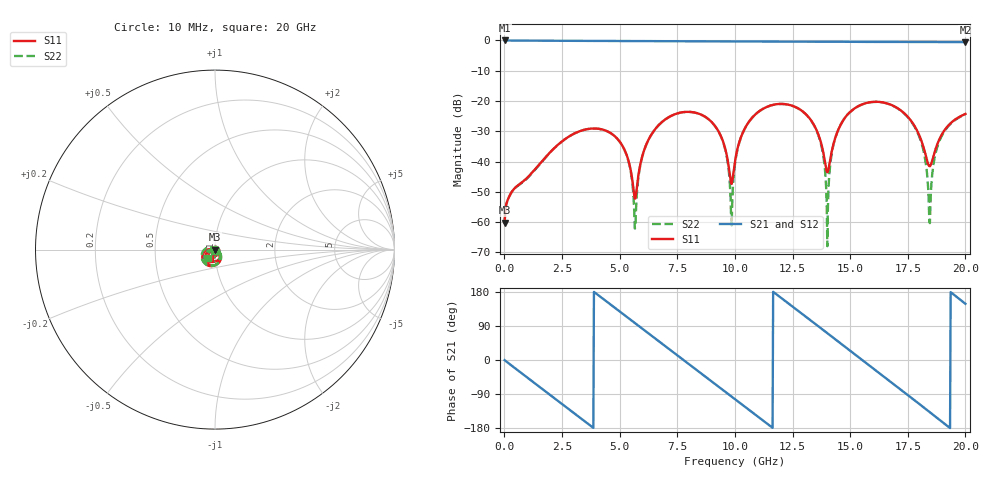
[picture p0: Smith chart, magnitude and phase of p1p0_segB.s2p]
! Stitch-density study - 40 x 12 mm symmetric stripline, cut at x=20 mm
! Case: p1p0_segB
! Sweep: 10 MHz - 20 GHz, 25 MHz step, 4 cores
# GHz S MA R 50.000000
! Terminal data exported
! Port[1] = U1.PAD1.SIG
! Port[2] = U2.PAD1.SIG
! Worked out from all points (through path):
!   801 points, 10 MHz to 20 GHz, reference 50 ohm
!   highest |S21| = -0.01 dB at 10 MHz (marker M1); lowest = -0.6 dB at 20 GHz (marker M2)
!   group delay of S21, straight-line fit = 129 ps
!   lowest |S11| = -60.2 dB at 10 MHz (marker M3), VSWR 1.00, Z = 50.1 + j0.0432 ohm
!   |S11| at or under -10 dB: start of sweep to end of sweep
!   |S22| runs from -68.0 to -20.3 dB; largest |S21 - S12| = 0
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0.01  0.0009811 26.1  0.9991 -0.5  0.9991 -0.5  0.000981 26.1
1.76  0.01152 -7.7  0.9891 -81.9  0.9891 -81.9  0.01139 -5.3
3.36  0.03257 -67.5  0.983 -155.9  0.983 -155.9  0.03254 -66.9
5.01  0.02115 -137.3  0.978 127.8  0.978 127.8  0.02105 -140.7
5.66  0.002435 -92.2  0.9763 97.7  0.9763 97.7  0.0007802 -113.9
6.035  0.01431 -19.7  0.9751 80.3  0.9751 80.3  0.01411 -12.4
6.685  0.0396 -42.9  0.9726 50.3  0.9726 50.3  0.03951 -40.6
8.185  0.06519 -108.2  0.967 -19.0  0.967 -19.0  0.06509 -109.1
9.36  0.02799 -155.8  0.9656 -73.4  0.9656 -73.4  0.02771 -162.3
9.835  0.004357 -109.2  0.9648 -95.4  0.9648 -95.4  0.001283 -149.9
10.01  0.01046 -37.8  0.9642 -103.6  0.9642 -103.6  0.00955 -18.5
10.56  0.04268 -44.3  0.9619 -129.1  0.9619 -129.1  0.04243 -40.5
11.685  0.08686 -91.5  0.9563 178.8  0.9563 178.8  0.08667 -91.8
13.36  0.04455 -161.0  0.9548 101.2  0.9548 101.2  0.04406 -168.6
14.01  0.006618 -110.1  0.954 70.8  0.954 70.8  0.0004001 -123.0
14.285  0.02005 -48.4  0.9527 58.0  0.9527 58.0  0.01944 -31.2
14.76  0.05182 -57.7  0.9494 35.8  0.9494 35.8  0.05222 -53.1
16.685  0.08906 -140.4  0.9437 -54.0  0.9437 -54.0  0.08857 -145.9
17.935  0.03069 175.0  0.9439 -112.9  0.9439 -112.9  0.02946 153.2
18.46  0.008383 -129.6  0.943 -137.9  0.943 -137.9  0.0009613 -2.6
18.91  0.02507 -83.1  0.9415 -159.3  0.9415 -159.3  0.02358 -71.8
20  0.06102 -119.3  0.9369 148.3  0.9369 148.3  0.06032 -128.7
